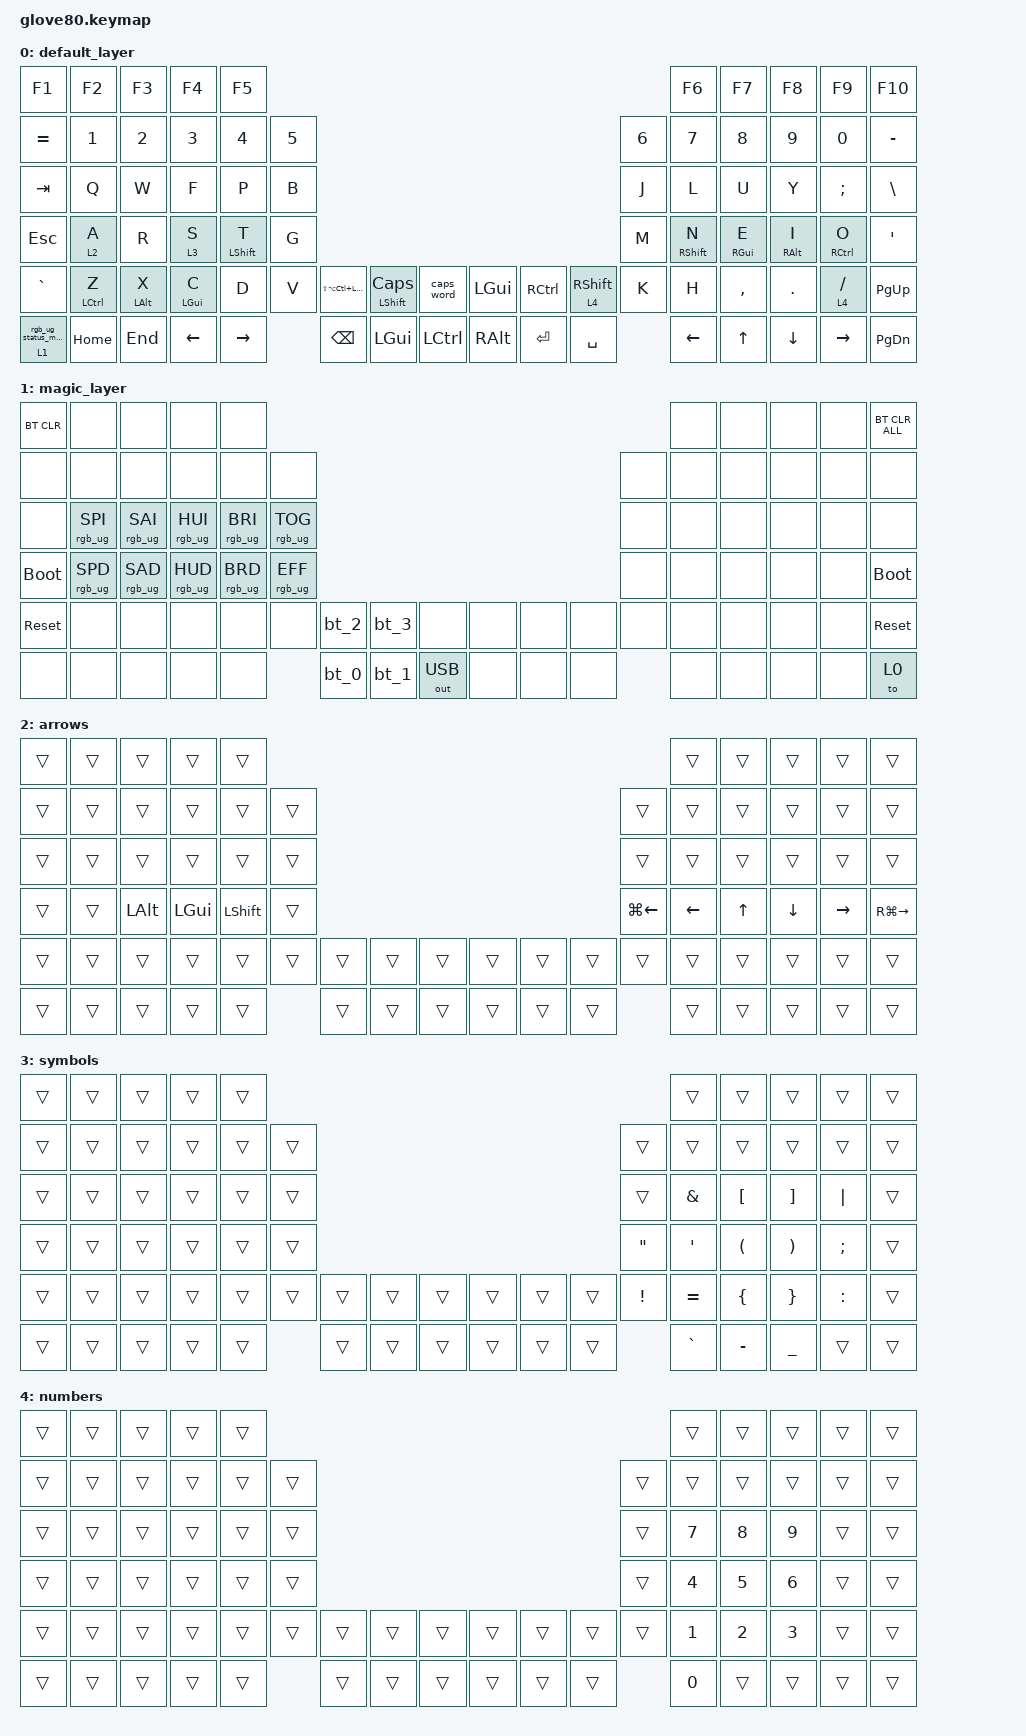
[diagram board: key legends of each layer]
/*
 * Copyright (c) 2020 The ZMK Contributors
 *
 * SPDX-License-Identifier: MIT
 */

#include <behaviors.dtsi>
#include <dt-bindings/zmk/bt.h>
#include <dt-bindings/zmk/keys.h>
#include <dt-bindings/zmk/outputs.h>
#include <dt-bindings/zmk/rgb.h>

#define HYPER LC(LS(LG(LALT)))

// layers

#define DEFAULT 0
#define LOWER 1
#define MAGIC 2
#define FACTORY_TEST 3

/ {
    behaviors {
        // For the "layer" key, it'd nice to be able to use it as either a shift or a toggle.
        // Configure it as a tap dance, so the first tap (or hold) is a &mo and the second tap is a &to

        layer_td: tap_dance_0 {
            compatible = "zmk,behavior-tap-dance";
            label = "LAYER_TAP_DANCE";
            #binding-cells = <0>;
            tapping-term-ms = <200>;
            bindings = <&mo 0>, <&to 0>;
        };

        magic: magic_hold_tap {
            compatible = "zmk,behavior-hold-tap";
            label = "MAGIC_HOLD_TAP";
            #binding-cells = <2>;
            flavor = "tap-preferred";
            tapping-term-ms = <200>;
            bindings = <&mo>, <&rgb_ug_status_macro>;
        };

        hml: homerow_mod_left {
            compatible = "zmk,behavior-hold-tap";
            label = "HOMEROW_MOD_LEFT";
            bindings = <&kp>, <&kp>;

            #binding-cells = <2>;
            tapping-term-ms = <280>;
            quick-tap-ms = <175>;
            require-prior-idle-ms = <150>;
            flavor = "balanced";
            hold-trigger-key-positions = <5 6 7 8 9 16 17 18 19 20 21 28 29 30 31 32 33 40 41 42 43 44 45 55 56 57 58 59 60 61 62 63 72 73 74 75 76 77 78 79>;
            hold-trigger-on-release;
        };

        hmr: homerow_mod_right {
            compatible = "zmk,behavior-hold-tap";
            label = "HOMEROW_MOD_RIGHT";
            bindings = <&kp>, <&kp>;

            #binding-cells = <2>;
            tapping-term-ms = <280>;
            quick-tap-ms = <175>;
            require-prior-idle-ms = <150>;
            flavor = "balanced";
            hold-trigger-key-positions = <38 0 1 2 3 4 10 11 12 13 14 15 22 23 24 25 26 27 34 35 36 37 38 39 46 47 48 49 50 51 52 53 54 64 65 66 67 68 69 70 71>;
            hold-trigger-on-release;
        };
    };

    macros {
        rgb_ug_status_macro: rgb_ug_status_macro_0 {
            label = "RGB_UG_STATUS";
            compatible = "zmk,behavior-macro";
            #binding-cells = <0>;
            bindings = <&rgb_ug RGB_STATUS>;
        };

        bt_0: bt_profile_macro_0 {
            label = "BT_0";
            compatible = "zmk,behavior-macro";
            #binding-cells = <0>;
            bindings = <&out OUT_BLE &bt BT_SEL 0>;
        };

        bt_1: bt_profile_macro_1 {
            label = "BT_1";
            compatible = "zmk,behavior-macro";
            #binding-cells = <0>;
            bindings = <&out OUT_BLE &bt BT_SEL 1>;
        };

        bt_2: bt_profile_macro_2 {
            label = "BT_2";
            compatible = "zmk,behavior-macro";
            #binding-cells = <0>;
            bindings = <&out OUT_BLE &bt BT_SEL 2>;
        };

        bt_3: bt_profile_macro_3 {
            label = "BT_3";
            compatible = "zmk,behavior-macro";
            #binding-cells = <0>;
            bindings = <&out OUT_BLE &bt BT_SEL 3>;
        };
    };

    combos { compatible = "zmk,combos"; };

    keymap {
        compatible = "zmk,keymap";

        default_layer {
            // ---------------------------------------------------------------------------------------------------------------------------------
            // |  F1   |  F2 |  F3 |  F4  |  F5  |                                                               |  F6   |  F7   |  F8  |   F9  |  F10 |
            // |  =    |  1  |  2  |  3   |  4   |  5   |                                                 |  6   |   7   |   8   |  9   |   0   |   -  |
            // |  TAB  |  Q  |  W  |  E   |  R   |  T   |                                                 |  Y   |   U   |   I   |  O   |   P   |   \  |
            // |  ESC  |  A  |  S  |  D   |  F   |  G   |                                                 |  H   |   J   |   K   |  L   |   ;   |   '  |
            // |   `   |  Z  |  X  |  C   |  V   |  B   | LSHFT | LCTRL | LOWER | | LGUI  | RCTRL | RSHFT |  N   |   M   |   ,   |  .   |   /   | PGUP |
            // | MAGIC | HOME| END | LEFT | RIGHT|      | BSPC  | DEL   | LALT  | | RALT  | RET   | SPACE |      |  UP   | DOWN  |  [   |   ]   | PGDN |

            bindings = <
&kp F1      &kp F2               &kp F3           &kp F4           &kp F5                                                                                                                   &kp F6              &kp F7            &kp F8            &kp F9                &kp F10
&kp EQUAL   &kp N1               &kp N2           &kp N3           &kp N4             &kp N5                                                                                        &kp N6  &kp N7              &kp N8            &kp N9            &kp N0                &kp MINUS
&kp TAB     &kp Q                &kp W            &kp F            &kp P              &kp B                                                                                         &kp J   &kp L               &kp U             &kp Y             &kp SEMI              &kp BSLH
&kp ESC     &lt 2 A              &kp R            &lt 3 S          &hml LEFT_SHIFT T  &kp G                                                                                         &kp M   &hmr RIGHT_SHIFT N  &hmr RIGHT_GUI E  &hmr RIGHT_ALT I  &hmr RIGHT_CONTROL O  &kp SQT
&kp GRAVE   &hml LEFT_CONTROL Z  &hml LEFT_ALT X  &hml LEFT_GUI C  &kp D              &kp V   &kp LS(LA(LC(LGUI)))  &mt LSHIFT CAPS  &caps_word  &kp LGUI  &kp RCTRL  &lt 4 RSHIFT  &kp K   &kp H               &kp COMMA         &kp DOT           &lt 4 SLASH           &kp PG_UP
&magic 1 0  &kp HOME             &kp END          &kp LEFT         &kp RIGHT                  &kp BSPC              &kp LEFT_GUI     &kp LCTRL   &kp RALT  &kp RET    &kp SPACE             &kp LEFT_ARROW      &kp UP_ARROW      &kp DOWN_ARROW    &kp RIGHT_ARROW       &kp PG_DN
            >;
        };

        magic_layer {
            bindings = <
&bt BT_CLR   &none            &none            &none            &none                                                                                     &none  &none  &none  &none  &bt BT_CLR_ALL
&none        &none            &none            &none            &none            &none                                                             &none  &none  &none  &none  &none  &none
&none        &rgb_ug RGB_SPI  &rgb_ug RGB_SAI  &rgb_ug RGB_HUI  &rgb_ug RGB_BRI  &rgb_ug RGB_TOG                                                   &none  &none  &none  &none  &none  &none
&bootloader  &rgb_ug RGB_SPD  &rgb_ug RGB_SAD  &rgb_ug RGB_HUD  &rgb_ug RGB_BRD  &rgb_ug RGB_EFF                                                   &none  &none  &none  &none  &none  &bootloader
&sys_reset   &none            &none            &none            &none            &none            &bt_2  &bt_3  &none         &none  &none  &none  &none  &none  &none  &none  &none  &sys_reset
&none        &none            &none            &none            &none                             &bt_0  &bt_1  &out OUT_USB  &none  &none  &none         &none  &none  &none  &none  &to 0
            >;
        };

        arrows {
            bindings = <
&trans  &trans  &trans        &trans        &trans                                                                                      &trans          &trans        &trans          &trans           &trans
&trans  &trans  &trans        &trans        &trans          &trans                                                  &trans              &trans          &trans        &trans          &trans           &trans
&trans  &trans  &trans        &trans        &trans          &trans                                                  &trans              &trans          &trans        &trans          &trans           &trans
&trans  &trans  &kp LEFT_ALT  &kp LEFT_GUI  &kp LEFT_SHIFT  &trans                                                  &kp LG(LEFT_ARROW)  &kp LEFT_ARROW  &kp UP_ARROW  &kp DOWN_ARROW  &kp RIGHT_ARROW  &kp RG(RIGHT_ARROW)
&trans  &trans  &trans        &trans        &trans          &trans  &trans  &trans  &trans  &trans  &trans  &trans  &trans              &trans          &trans        &trans          &trans           &trans
&trans  &trans  &trans        &trans        &trans                  &trans  &trans  &trans  &trans  &trans  &trans                      &trans          &trans        &trans          &trans           &trans
            >;
        };

        symbols {
            bindings = <
&trans  &trans  &trans  &trans  &trans                                                                             &trans            &trans                &trans                 &trans         &trans
&trans  &trans  &trans  &trans  &trans  &trans                                                  &trans             &trans            &trans                &trans                 &trans         &trans
&trans  &trans  &trans  &trans  &trans  &trans                                                  &trans             &kp AMPERSAND     &kp LEFT_BRACKET      &kp RIGHT_BRACKET      &kp PIPE       &trans
&trans  &trans  &trans  &trans  &trans  &trans                                                  &kp DOUBLE_QUOTES  &kp SINGLE_QUOTE  &kp LEFT_PARENTHESIS  &kp RIGHT_PARENTHESIS  &kp SEMICOLON  &trans
&trans  &trans  &trans  &trans  &trans  &trans  &trans  &trans  &trans  &trans  &trans  &trans  &kp EXCLAMATION    &kp EQUAL         &kp LEFT_BRACE        &kp RIGHT_BRACE        &kp COLON      &trans
&trans  &trans  &trans  &trans  &trans          &trans  &trans  &trans  &trans  &trans  &trans                     &kp GRAVE         &kp MINUS             &kp UNDERSCORE         &trans         &trans
            >;
        };

        numbers {
            bindings = <
&trans  &trans  &trans  &trans  &trans                                                                  &trans  &trans  &trans  &trans  &trans
&trans  &trans  &trans  &trans  &trans  &trans                                                  &trans  &trans  &trans  &trans  &trans  &trans
&trans  &trans  &trans  &trans  &trans  &trans                                                  &trans  &kp N7  &kp N8  &kp N9  &trans  &trans
&trans  &trans  &trans  &trans  &trans  &trans                                                  &trans  &kp N4  &kp N5  &kp N6  &trans  &trans
&trans  &trans  &trans  &trans  &trans  &trans  &trans  &trans  &trans  &trans  &trans  &trans  &trans  &kp N1  &kp N2  &kp N3  &trans  &trans
&trans  &trans  &trans  &trans  &trans          &trans  &trans  &trans  &trans  &trans  &trans          &kp N0  &trans  &trans  &trans  &trans
            >;
        };
    };
};
